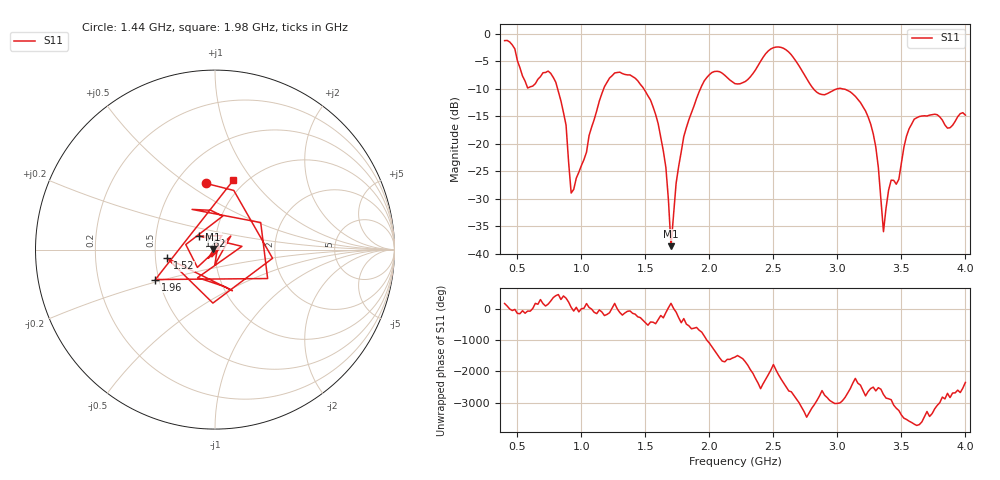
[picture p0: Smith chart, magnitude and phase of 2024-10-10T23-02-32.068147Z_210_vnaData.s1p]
! Created with skrf (http://scikit-rf.org).
# Hz S RI R 50.0
!freq ReS11 ImS11
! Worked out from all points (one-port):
!   181 points, 400 MHz to 4 GHz, reference 50 ohm
!   lowest |S11| = -38.7 dB at 1.7 GHz (marker M1), VSWR 1.02, Z = 48.9 + j0.273 ohm
!   |S11| at or under -10 dB: 813.2 MHz to 1.175 GHz (361.3 MHz wide, 36.4 % of centre); 1.486 GHz to 1.931 GHz (444.7 MHz wide, 26 % of centre); 3.03 GHz to end of sweep (the widest 3 of 4)
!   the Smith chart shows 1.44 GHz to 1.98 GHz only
!   S11 on the Smith chart (normalised r, x): 1.44 GHz: 0.69, +0.59; 1.52 GHz: 0.58, -0.06; 1.62 GHz: 0.83, +0.13; 1.96 GHz: 0.48, -0.19; 1.98 GHz: 0.88, +0.81
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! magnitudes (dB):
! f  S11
! 400 MHz  -1.3
! 580 MHz  -9.9
! 760 MHz  -7.2
! 860 MHz  -14.4
! 880 MHz  -16.6
! 920 MHz  -29.0
! 1.18 GHz  -9.7
! 1.3 GHz  -7.0
! 1.44 GHz  -8.6
! 1.52 GHz  -11.3
! 1.62 GHz  -18.8
! 1.66 GHz  -24.4
! 1.7 GHz  -38.7
! 1.76 GHz  -24.1
! 1.96 GHz  -8.6
! 1.98 GHz  -8.0
! 2.2 GHz  -9.1
! 2.5 GHz  -2.6
! 2.66 GHz  -4.5
! 2.84 GHz  -10.7
! 3.1 GHz  -10.6
! 3.28 GHz  -18.2
! 3.32 GHz  -24.3
! 3.36 GHz  -36.0
! 3.4 GHz  -28.5
! 3.48 GHz  -26.5
! 3.56 GHz  -17.3
! 4 GHz  -14.8
